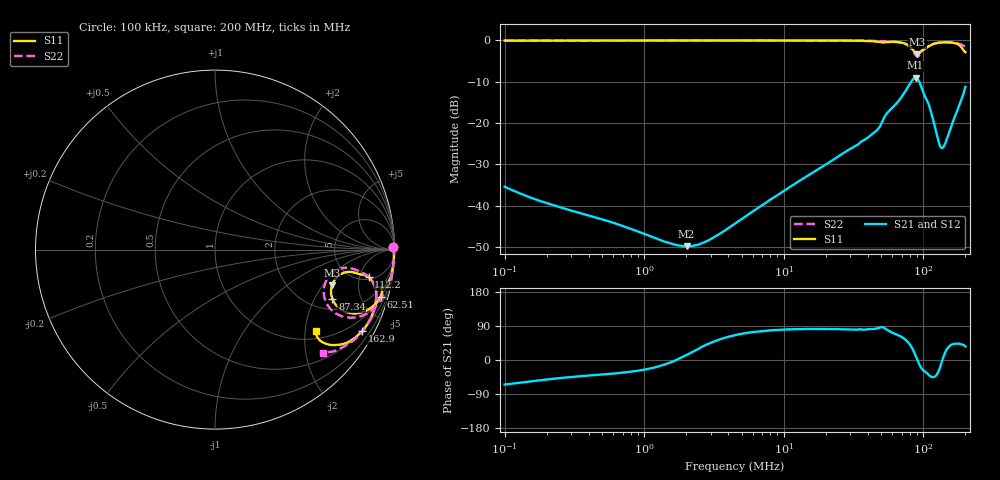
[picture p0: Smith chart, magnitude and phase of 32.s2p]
#  HZ  S  RI  R  50.00
! Rohde & Schwarz Vector Network Analyzer
! Rohde-Schwarz,ZNLE6-2Port,1323001256200024,1.71.1.10-23.02.1.238
! Created: UTC 4/7/2025, 5:16:14 AM
! freq[Hz]  re:S11  im:S11  re:S21  im:S21  re:S12  im:S12  re:S22  im:S22
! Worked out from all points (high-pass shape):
!   1001 points, 100 kHz to 200 MHz, reference 50 ohm
!   highest |S21| = -9.04 dB at 88.01 MHz (marker M1); lowest = -49.8 dB at 2.013 MHz (marker M2)
!   |S21| within 3 dB of the highest: 75.13 MHz to 98.5 MHz (23.36 MHz wide, 26.9 % of centre); 196.9 MHz to end of sweep
!   lowest |S11| = -3.3 dB at 90.72 MHz (marker M3), VSWR 5.27, Z = 167 - j123 ohm
!   |S11| at or under -10 dB: nowhere
!   |S22| runs from -3.9 to 0.0 dB; largest |S21 - S12| = 0.012
!   S11 on the Smith chart (normalised r, x): 100 kHz: open; 62.51 MHz: 1.09, -7.02; 87.34 MHz: 2.55, -2.81; 112.2 MHz: 5.47, -6.95; 162.9 MHz: 0.51, -3.78; 200 MHz: 1.21, -2.28
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100000  0.9929 0.015  0.00724 -0.0153  0.00726 -0.0153  0.993 0.015
355854.1  0.9941 0.00451  0.00594 -0.00544  0.00595 -0.00545  0.9943 0.00452
1266322  0.9962 -0.00212  0.00374 -0.00114  0.00374 -0.00114  0.9964 -0.00217
2013292  0.9968 -0.00587  0.00315 0.00074  0.00315 0.00074  0.9969 -0.00589
2812886  0.9972 -0.0101  0.00281 0.00244  0.00286 0.00239  0.9974 -0.00941
4472136  0.9973 -0.0174  0.00251 0.00552  0.00256 0.00549  0.998 -0.0165
1.591428e7  0.9953 -0.0657  0.00354 0.0246  0.00377 0.0245  0.9957 -0.0661
4.508459e7  0.9514 -0.2012  0.0105 0.0775  0.0115 0.0769  0.964 -0.2025
5.663162e7  0.9308 -0.2233  0.0319 0.1355  0.0354 0.1339  0.9367 -0.2504
6.25133e7  0.9221 -0.2616  0.0588 0.1538  0.0603 0.1529  0.9177 -0.2885
7.852416e7  0.7899 -0.3555  0.2002 0.1992  0.2061 0.1933  0.7646 -0.3796
8.734091e7  0.6539 -0.2745  0.3416 0.0867  0.3445 0.078  0.6128 -0.2788
8.800731e7  0.6494 -0.2597  0.3461 0.0695  0.3487 0.0607  0.6082 -0.2613
9.072414e7  0.6517 -0.1984  0.3435 -0.00361  0.3443 -0.0121  0.6128 -0.1898
9.788884e7  0.7482 -0.1239  0.2351 -0.1048  0.2335 -0.1109  0.7288 -0.1011
1.12241e8  0.8565 -0.1541  0.1061 -0.0984  0.1041 -0.1006  0.8587 -0.1545
1.27723e8  0.8985 -0.2582  0.0524 -0.0326  0.0517 -0.0334  0.8991 -0.2599
1.347027e8  0.8945 -0.3006  0.0496 -0.00669  0.049 -0.00766  0.8955 -0.3023
1.431478e8  0.8816 -0.3502  0.0528 0.0188  0.0523 0.0175  0.8828 -0.3489
1.628929e8  0.8176 -0.4557  0.0774 0.0696  0.0791 0.0656  0.8296 -0.4469
1.82565e8  0.6791 -0.5312  0.1261 0.1164  0.1294 0.1112  0.7284 -0.5341
2e8  0.562 -0.4521  0.2228 0.1596  0.2315 0.1515  0.6036 -0.5778
